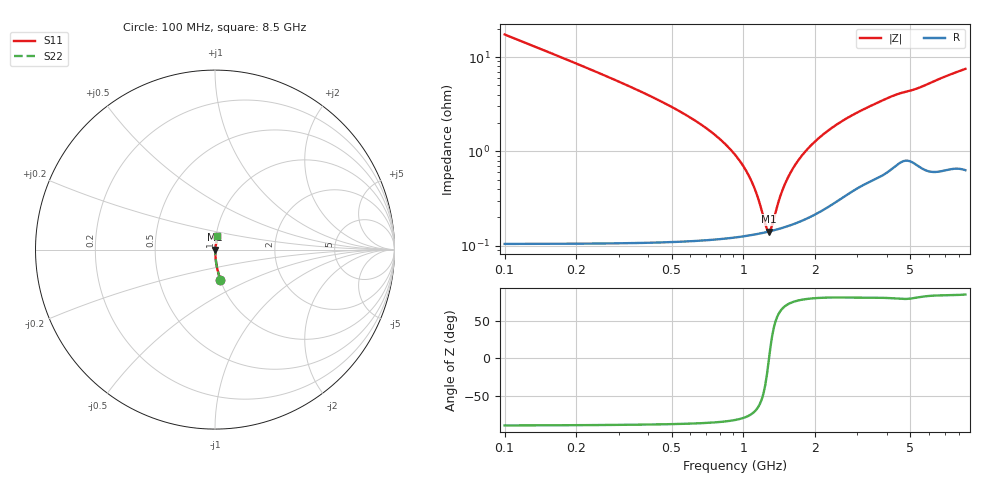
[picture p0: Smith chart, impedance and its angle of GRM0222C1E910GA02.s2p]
!Murata Part Number: GRM0222C1E910GA02
!These Parameters are Measured in Series Mode Connection
!Data Generated on Mar 30, 2021
!  o--ll--o
!Port1  Port2
!  o------o
!Operation Temp=25[degC], DC Bias Voltage=0[V]
!Freq. Start=100[MHz] Stop=9[GHz] 401[Steps]
# Hz S RI R 50
!Freq.(Hz) S11(Real) S11(Imag) S21(Real) S21(Imag) S12(Real) S12(Imag) S22(Real) S22(Imag)
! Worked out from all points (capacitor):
!   401 points, 100 MHz to 8.5 GHz, reference 50 ohm
!   read as one part in series: C = 91 pF near 142 MHz
!   lowest |Z| = 141 mohm at 1.276 GHz (marker M1)
!   series resonance near 1.28 GHz, so ESL is about 170 pH
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1e8  0.0303 -0.1684  0.9697 0.1684  0.9697 0.1684  0.0303 -0.1684
2.26e8  0.00662 -0.0744  0.9934 0.0744  0.9934 0.0744  0.00662 -0.0744
3.31e8  0.00348 -0.0491  0.9965 0.0491  0.9965 0.0491  0.00348 -0.0491
4.78e8  0.00207 -0.0314  0.9979 0.0314  0.9979 0.0314  0.00207 -0.0314
8.35e8  0.00133 -0.012  0.9987 0.012  0.9987 0.012  0.00133 -0.012
9.82e8  0.0013 -0.00732  0.9987 0.00732  0.9987 0.00732  0.0013 -0.00732
1.087e9  0.00132 -0.00448  0.9987 0.00448  0.9987 0.00448  0.00132 -0.00448
1.15e9  0.00134 -0.00293  0.9987 0.00293  0.9987 0.00293  0.00134 -0.00293
1.234e9  0.00138 -0.000999  0.9986 0.000999  0.9986 0.000999  0.00138 -0.000999
1.276e9  0.00141 -8.38e-05  0.9986 8.38e-05  0.9986 8.38e-05  0.00141 -8.38e-05
1.318e9  0.00144 0.000802  0.9986 -0.000802  0.9986 -0.000802  0.00144 0.000802
1.423e9  0.00152 0.0029  0.9985 -0.0029  0.9985 -0.0029  0.00152 0.0029
1.507e9  0.0016 0.00449  0.9984 -0.00449  0.9984 -0.00449  0.0016 0.00449
1.591e9  0.0017 0.006  0.9983 -0.006  0.9983 -0.006  0.0017 0.006
1.696e9  0.00183 0.0078  0.9982 -0.0078  0.9982 -0.0078  0.00183 0.0078
1.99e9  0.00228 0.0124  0.9977 -0.0124  0.9977 -0.0124  0.00228 0.0124
2.389e9  0.00312 0.018  0.9969 -0.018  0.9969 -0.018  0.00312 0.018
2.914e9  0.00446 0.0244  0.9955 -0.0244  0.9955 -0.0244  0.00446 0.0244
4.3e9  0.00831 0.0383  0.9917 -0.0383  0.9917 -0.0383  0.00831 0.0383
5.707e9  0.00876 0.0486  0.9912 -0.0486  0.9912 -0.0486  0.00876 0.0486
7.114e9  0.0102 0.062  0.9898 -0.062  0.9898 -0.062  0.0102 0.062
8.5e9  0.0117 0.0734  0.9883 -0.0734  0.9883 -0.0734  0.0117 0.0734
